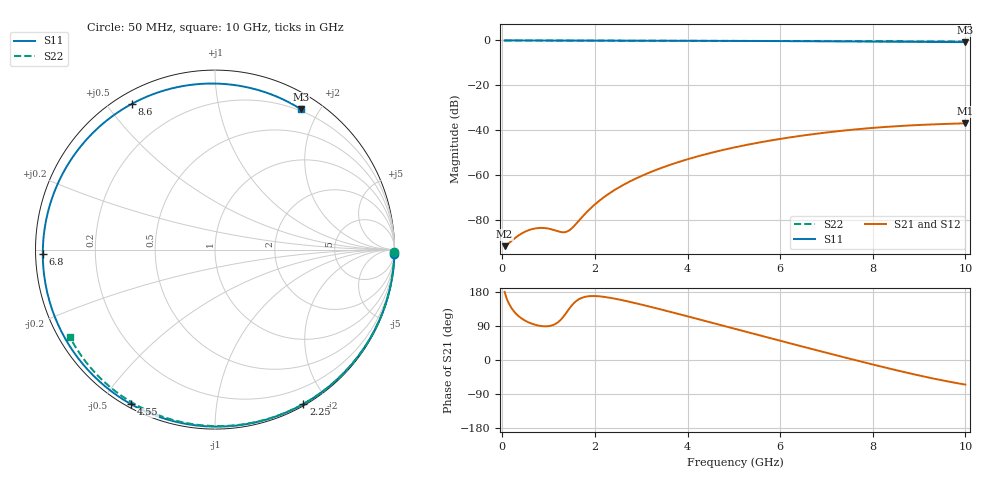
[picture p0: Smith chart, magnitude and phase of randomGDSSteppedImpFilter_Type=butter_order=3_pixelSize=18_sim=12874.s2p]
! freq	dB(S11)	phase(S11)	dB(S12)	phase(S12)
!  dB(S21)	phase(S21)	dB(S22)	phase(S22)
!S-par simulation data
#  GHz  S  DB  R 50
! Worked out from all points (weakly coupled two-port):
!   200 points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, 50 MHz to 10 GHz, reference 50 ohm
!   highest |S21| = -36.83 dB at 10 GHz (marker M1); lowest = -91.4 dB at 50 MHz (marker M2)
!   lowest |S11| = -0.8 dB at 10 GHz (marker M3), VSWR 23.09, Z = 8.98 + j88.3 ohm
!   |S11| at or under -10 dB: nowhere
!   |S22| runs from -0.5 to 0.0 dB; largest |S21 - S12| = 0
!   S11 on the Smith chart (normalised r, x): 50 MHz: 0, -84; 2.25 GHz: 0.02, -1.73; 4.55 GHz: 0.01, -0.60; 6.8 GHz: 0.02, -0.01; 8.6 GHz: 0.05, +0.58; 10 GHz: 0.18, +1.77
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0.05  -0.00 -1.4  -91.44 179.7  -91.44 179.7  -0.00 -0.9
0.8  -0.02 -21.8  -83.35 90.4  -83.35 90.4  -0.02 -13.7
1.65  -0.06 -44.5  -80.21 160.1  -80.21 160.1  -0.04 -28.1
1.75  -0.06 -47.1  -77.90 165.5  -77.90 165.5  -0.04 -29.8
2  -0.07 -53.7  -72.87 168.8  -72.87 168.8  -0.04 -33.9
2.25  -0.08 -60.2  -68.84 165.7  -68.84 165.7  -0.05 -38.0
2.75  -0.09 -73.0  -62.72 153.5  -62.72 153.5  -0.06 -46.2
3.4  -0.12 -89.5  -56.93 134.2  -56.93 134.2  -0.07 -56.5
3.95  -0.14 -103.3  -53.13 116.9  -53.13 116.9  -0.09 -65.0
4.55  -0.17 -118.4  -49.74 97.6  -49.74 97.6  -0.11 -74.1
5.05  -0.20 -131.1  -47.38 81.4  -47.38 81.4  -0.12 -81.5
5.9  -0.27 -153.3  -44.10 54.0  -44.10 54.0  -0.16 -93.7
6.7  -0.35 -175.7  -41.68 28.5  -41.68 28.5  -0.20 -104.9
6.8  -0.36 -178.7  -41.42 25.4  -41.42 25.4  -0.21 -106.3
7.6  -0.45 156.2  -39.59 0.4  -39.59 0.4  -0.26 -117.1
8  -0.50 142.3  -38.87 -11.9  -38.87 -11.9  -0.29 -122.4
8.35  -0.55 129.4  -38.33 -22.3  -38.33 -22.3  -0.32 -127.1
8.6  -0.58 119.6  -38.01 -29.6  -38.01 -29.6  -0.35 -130.4
8.95  -0.63 105.3  -37.62 -39.4  -37.62 -39.4  -0.38 -135.0
9.3  -0.67 90.3  -37.31 -48.7  -37.31 -48.7  -0.42 -139.6
9.65  -0.72 74.7  -37.05 -57.2  -37.05 -57.2  -0.46 -144.2
10  -0.75 58.6  -36.83 -64.9  -36.83 -64.9  -0.50 -148.9
